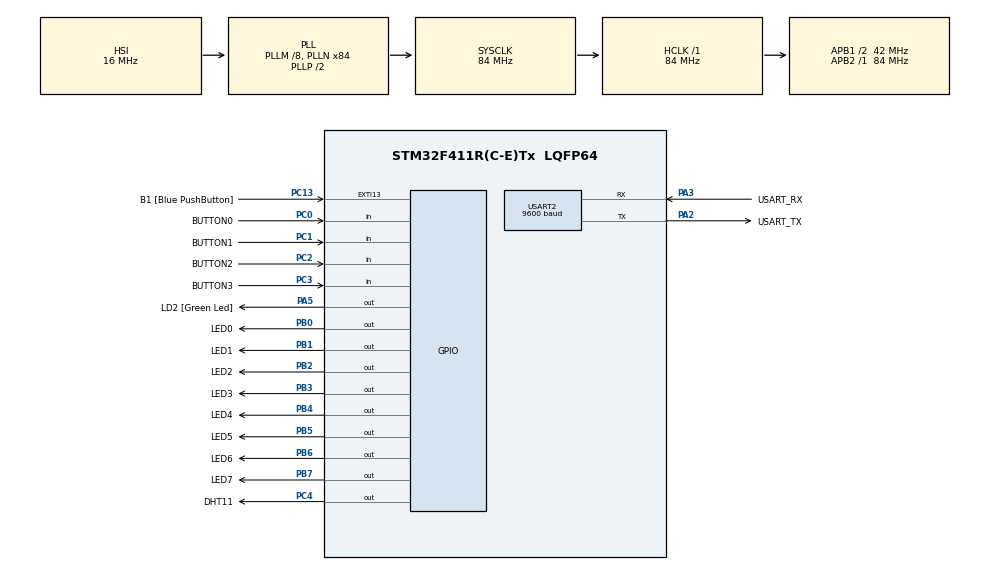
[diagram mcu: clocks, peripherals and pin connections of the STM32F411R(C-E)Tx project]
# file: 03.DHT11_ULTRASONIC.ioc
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Mcu.Family=STM32F4
Mcu.Name=STM32F411R(C-E)Tx
Mcu.Package=LQFP64
NVIC.PriorityGroup=NVIC_PRIORITYGROUP_0
NVIC.TIM1_UP_TIM10_IRQn=true\:0\:0\:false\:false\:true\:true\:true\:true
NVIC.USART2_IRQn=true\:0\:0\:false\:false\:true\:true\:true\:true
PA13.GPIO_Label=TMS
PA13.Mode=Serial_Wire
PA13.Signal=SYS_JTMS-SWDIO
PA14.GPIO_Label=TCK
PA14.Mode=Serial_Wire
PA14.Signal=SYS_JTCK-SWCLK
PA2.GPIO_Label=USART_TX
PA2.Mode=Asynchronous
PA2.Signal=USART2_TX
PA3.GPIO_Label=USART_RX
PA3.Mode=Asynchronous
PA3.Signal=USART2_RX
PA5.GPIO_Label=LD2 [Green Led]
PA5.Signal=GPIO_Output
PB0.GPIO_Label=LED0
PB0.Signal=GPIO_Output
PB1.GPIO_Label=LED1
PB1.Signal=GPIO_Output
PB2.GPIO_Label=LED2
PB2.Signal=GPIO_Output
PB3.GPIO_Label=LED3
PB3.Signal=GPIO_Output
PB4.GPIO_Label=LED4
PB4.Signal=GPIO_Output
PB5.GPIO_Label=LED5
PB5.Signal=GPIO_Output
PB6.GPIO_Label=LED6
PB6.Signal=GPIO_Output
PB7.GPIO_Label=LED7
PB7.Signal=GPIO_Output
PC0.GPIO_Label=BUTTON0
PC0.Signal=GPIO_Input
PC1.GPIO_Label=BUTTON1
PC1.Signal=GPIO_Input
PC13-ANTI_TAMP.GPIO_Label=B1 [Blue PushButton]
PC13-ANTI_TAMP.GPIO_ModeDefaultEXTI=GPIO_MODE_IT_FALLING
PC13-ANTI_TAMP.Signal=GPXTI13
PC14-OSC32_IN.Mode=LSE-External-Oscillator
PC14-OSC32_IN.Signal=RCC_OSC32_IN
PC15-OSC32_OUT.Mode=LSE-External-Oscillator
PC15-OSC32_OUT.Signal=RCC_OSC32_OUT
PC2.GPIO_Label=BUTTON2
PC2.Signal=GPIO_Input
PC3.GPIO_Label=BUTTON3
PC3.Signal=GPIO_Input
PC4.GPIO_Label=DHT11
PC4.Signal=GPIO_Output
PH0\ -\ OSC_IN.Mode=HSE-External-Clock-Source
PH0\ -\ OSC_IN.Signal=RCC_OSC_IN
PH1\ -\ OSC_OUT.Mode=HSE-External-Clock-Source
PH1\ -\ OSC_OUT.Signal=RCC_OSC_OUT
ProjectManager.HeapSize=0x200
ProjectManager.StackSize=0x400
ProjectManager.TargetToolchain=STM32CubeIDE
RCC.48MHZClocksFreq_Value=42000000
RCC.AHBFreq_Value=84000000
RCC.APB1CLKDivider=RCC_HCLK_DIV2
RCC.APB1Freq_Value=42000000
RCC.APB1TimFreq_Value=84000000
RCC.APB2Freq_Value=84000000
RCC.APB2TimFreq_Value=84000000
RCC.CortexFreq_Value=84000000
RCC.FLatency-AdvancedSettings=FLASH_LATENCY_2
RCC.HCLKFreq_Value=84000000
RCC.HSE_VALUE=8000000
RCC.HSI_VALUE=16000000
RCC.PLLM=8
RCC.PLLN=84
RCC.SYSCLKFreq_VALUE=84000000
RCC.SYSCLKSource=RCC_SYSCLKSOURCE_PLLCLK
RCC.VCOOutputFreq_Value=168000000
TIM10.Period=1000-1
TIM10.Prescaler=84-1
TIM2.Prescaler=84-1
USART2.BaudRate=9600
USART2.VirtualMode=VM_ASYNC
VP_TIM10_VS_ClockSourceINT.Mode=Enable_Timer
VP_TIM2_VS_ClockSourceINT.Mode=Internal
board=NUCLEO-F411RE

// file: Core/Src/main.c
/* USER CODE BEGIN Header */
/**
  ******************************************************************************
  * @file           : main.c
  * @brief          : Main program body
  ******************************************************************************
  * @attention
  *
  * Copyright (c) 2026 STMicroelectronics.
  * All rights reserved.
  *
  * This software is licensed under terms that can be found in the LICENSE file
  * in the root directory of this software component.
  * If no LICENSE file comes with this software, it is provided AS-IS.
  *
  ******************************************************************************
  */
/* USER CODE END Header */
#include "main.h"

TIM_HandleTypeDef htim2;
TIM_HandleTypeDef htim10;

UART_HandleTypeDef huart2;

/* USER CODE BEGIN PV */
volatile int TIM10_1ms_counter=0;  // ADD SIKWON
volatile int TIM10_1ms_ledcnt=0;  // ADD SIKWON
uint8_t rx_data; // uart tx data
/* USER CODE END PV */

void SystemClock_Config(void);
static void MX_GPIO_Init(void);
static void MX_USART2_UART_Init(void);
static void MX_TIM10_Init(void);
static void MX_TIM2_Init(void);
/* USER CODE BEGIN PFP */
extern void led_main(void);
extern void delay_us(unsigned int us);
extern void dht11_main(void);
/* USER CODE END PFP */

/* USER CODE BEGIN 0 */
// move from STM32Fxx_HAL_Driver/Src/stm32f4xx_hal_tim.c to here
// enter here when every 1 ms timer INT occurs
void HAL_TIM_PeriodElapsedCallback(TIM_HandleTypeDef *htim)
{
	if ( htim->Instance == TIM10)   // (*htim).Instance == TIM10
	{
		TIM10_1ms_counter++;
		TIM10_1ms_ledcnt++;
	}
}

#ifdef __GNUC__    // Add for printf
/* With GCC, small printf (option LD Linker->Libraries->Small printf
   set to 'Yes') calls __io_putchar() */
#define PUTCHAR_PROTOTYPE int __io_putchar(int ch)
#else
#define PUTCHAR_PROTOTYPE int fputc(int ch, FILE *f)
#endif /* __GNUC__ */
/**
  * @brief  Retargets the C library printf function to the USART.
  * @param  None
  * @retval None
  */
PUTCHAR_PROTOTYPE   // Add for printf
{
  /* Place your implementation of fputc here */
  /* e.g. write a character to the USART3 and Loop until the end of transmission */
  HAL_UART_Transmit(&huart2, (uint8_t *)&ch, 1, 0xFFFF);

  return ch;
}
/* USER CODE END 0 */

int main(void)
{

  /* MCU Configuration--------------------------------------------------------*/

  /* Reset of all peripherals, Initializes the Flash interface and the Systick. */
  HAL_Init();

  /* Configure the system clock */
  SystemClock_Config();

  /* Initialize all configured peripherals */
  MX_GPIO_Init();
  MX_USART2_UART_Init();
  MX_TIM10_Init();
  MX_TIM2_Init();
  /* USER CODE BEGIN 2 */
  HAL_TIM_Base_Start_IT(&htim10);
  HAL_TIM_Base_Start_IT(&htim2);
  HAL_UART_Receive_IT(&huart2, &rx_data, 1);
  led_main();

printf("main start !!!\n");
//dht11_main();
  /* USER CODE END 2 */

  /* Infinite loop */
  /* USER CODE BEGIN WHILE */
  while (1)
  {
	  HAL_GPIO_WritePin(GPIOB, GPIO_PIN_0 | GPIO_PIN_1 | GPIO_PIN_2 | GPIO_PIN_3 |
			  	  	  	  	   GPIO_PIN_4 | GPIO_PIN_5 | GPIO_PIN_6 | GPIO_PIN_7, 1);
	  // HAL_Delay(100);
	  delay_us(50000);   // 50ms
	  HAL_GPIO_WritePin(GPIOB, GPIO_PIN_0 | GPIO_PIN_1 | GPIO_PIN_2 | GPIO_PIN_3 |
			  	  	  	  	   GPIO_PIN_4 | GPIO_PIN_5 | GPIO_PIN_6 | GPIO_PIN_7, 0);
	  // HAL_Delay(100);
	  delay_us(50000);   // 50ms
    /* USER CODE END WHILE */

  }
}

void SystemClock_Config(void)
{
  RCC_OscInitTypeDef RCC_OscInitStruct = {0};
  RCC_ClkInitTypeDef RCC_ClkInitStruct = {0};

  /** Configure the main internal regulator output voltage
  */
  __HAL_RCC_PWR_CLK_ENABLE();
  __HAL_PWR_VOLTAGESCALING_CONFIG(PWR_REGULATOR_VOLTAGE_SCALE1);

  /** Initializes the RCC Oscillators according to the specified parameters
  * in the RCC_OscInitTypeDef structure.
  */
  RCC_OscInitStruct.OscillatorType = RCC_OSCILLATORTYPE_HSI;
  RCC_OscInitStruct.HSIState = RCC_HSI_ON;
  RCC_OscInitStruct.HSICalibrationValue = RCC_HSICALIBRATION_DEFAULT;
  RCC_OscInitStruct.PLL.PLLState = RCC_PLL_ON;
  RCC_OscInitStruct.PLL.PLLSource = RCC_PLLSOURCE_HSI;
  RCC_OscInitStruct.PLL.PLLM = 8;
  RCC_OscInitStruct.PLL.PLLN = 84;
  RCC_OscInitStruct.PLL.PLLP = RCC_PLLP_DIV2;
  RCC_OscInitStruct.PLL.PLLQ = 4;
  if (HAL_RCC_OscConfig(&RCC_OscInitStruct) != HAL_OK)
  {
    Error_Handler();
  }

  /** Initializes the CPU, AHB and APB buses clocks
  */
  RCC_ClkInitStruct.ClockType = RCC_CLOCKTYPE_HCLK|RCC_CLOCKTYPE_SYSCLK
                              |RCC_CLOCKTYPE_PCLK1|RCC_CLOCKTYPE_PCLK2;
  RCC_ClkInitStruct.SYSCLKSource = RCC_SYSCLKSOURCE_PLLCLK;
  RCC_ClkInitStruct.AHBCLKDivider = RCC_SYSCLK_DIV1;
  RCC_ClkInitStruct.APB1CLKDivider = RCC_HCLK_DIV2;
  RCC_ClkInitStruct.APB2CLKDivider = RCC_HCLK_DIV1;

  if (HAL_RCC_ClockConfig(&RCC_ClkInitStruct, FLASH_LATENCY_2) != HAL_OK)
  {
    Error_Handler();
  }
}

static void MX_TIM2_Init(void)
{

  TIM_ClockConfigTypeDef sClockSourceConfig = {0};
  TIM_MasterConfigTypeDef sMasterConfig = {0};

  htim2.Instance = TIM2;
  htim2.Init.Prescaler = 84-1;
  htim2.Init.CounterMode = TIM_COUNTERMODE_UP;
  htim2.Init.Period = 4294967295;
  htim2.Init.ClockDivision = TIM_CLOCKDIVISION_DIV1;
  htim2.Init.AutoReloadPreload = TIM_AUTORELOAD_PRELOAD_DISABLE;
  if (HAL_TIM_Base_Init(&htim2) != HAL_OK)
  {
    Error_Handler();
  }
  sClockSourceConfig.ClockSource = TIM_CLOCKSOURCE_INTERNAL;
  if (HAL_TIM_ConfigClockSource(&htim2, &sClockSourceConfig) != HAL_OK)
  {
    Error_Handler();
  }
  sMasterConfig.MasterOutputTrigger = TIM_TRGO_RESET;
  sMasterConfig.MasterSlaveMode = TIM_MASTERSLAVEMODE_DISABLE;
  if (HAL_TIMEx_MasterConfigSynchronization(&htim2, &sMasterConfig) != HAL_OK)
  {
    Error_Handler();
  }

}

static void MX_TIM10_Init(void)
{

  htim10.Instance = TIM10;
  htim10.Init.Prescaler = 84-1;
  htim10.Init.CounterMode = TIM_COUNTERMODE_UP;
  htim10.Init.Period = 1000-1;
  htim10.Init.ClockDivision = TIM_CLOCKDIVISION_DIV1;
  htim10.Init.AutoReloadPreload = TIM_AUTORELOAD_PRELOAD_DISABLE;
  if (HAL_TIM_Base_Init(&htim10) != HAL_OK)
  {
    Error_Handler();
  }

}

static void MX_USART2_UART_Init(void)
{

  huart2.Instance = USART2;
  huart2.Init.BaudRate = 9600;
  huart2.Init.WordLength = UART_WORDLENGTH_8B;
  huart2.Init.StopBits = UART_STOPBITS_1;
  huart2.Init.Parity = UART_PARITY_NONE;
  huart2.Init.Mode = UART_MODE_TX_RX;
  huart2.Init.HwFlowCtl = UART_HWCONTROL_NONE;
  huart2.Init.OverSampling = UART_OVERSAMPLING_16;
  if (HAL_UART_Init(&huart2) != HAL_OK)
  {
    Error_Handler();
  }

}

static void MX_GPIO_Init(void)
{
  GPIO_InitTypeDef GPIO_InitStruct = {0};

  /* GPIO Ports Clock Enable */
  __HAL_RCC_GPIOC_CLK_ENABLE();
  __HAL_RCC_GPIOH_CLK_ENABLE();
  __HAL_RCC_GPIOA_CLK_ENABLE();
  __HAL_RCC_GPIOB_CLK_ENABLE();

  /*Configure GPIO pin Output Level */
  HAL_GPIO_WritePin(LD2_GPIO_Port, LD2_Pin, GPIO_PIN_RESET);

  /*Configure GPIO pin Output Level */
  HAL_GPIO_WritePin(DHT11_GPIO_Port, DHT11_Pin, GPIO_PIN_RESET);

  /*Configure GPIO pin Output Level */
  HAL_GPIO_WritePin(GPIOB, LED0_Pin|LED1_Pin|LED2_Pin|LED3_Pin
                          |LED4_Pin|LED5_Pin|LED6_Pin|LED7_Pin, GPIO_PIN_RESET);

  /*Configure GPIO pin : B1_Pin */
  GPIO_InitStruct.Pin = B1_Pin;
  GPIO_InitStruct.Mode = GPIO_MODE_IT_FALLING;
  GPIO_InitStruct.Pull = GPIO_NOPULL;
  HAL_GPIO_Init(B1_GPIO_Port, &GPIO_InitStruct);

  /*Configure GPIO pins : BUTTON0_Pin BUTTON1_Pin BUTTON2_Pin BUTTON3_Pin */
  GPIO_InitStruct.Pin = BUTTON0_Pin|BUTTON1_Pin|BUTTON2_Pin|BUTTON3_Pin;
  GPIO_InitStruct.Mode = GPIO_MODE_INPUT;
  GPIO_InitStruct.Pull = GPIO_NOPULL;
  HAL_GPIO_Init(GPIOC, &GPIO_InitStruct);

  /*Configure GPIO pin : LD2_Pin */
  GPIO_InitStruct.Pin = LD2_Pin;
  GPIO_InitStruct.Mode = GPIO_MODE_OUTPUT_PP;
  GPIO_InitStruct.Pull = GPIO_NOPULL;
  GPIO_InitStruct.Speed = GPIO_SPEED_FREQ_LOW;
  HAL_GPIO_Init(LD2_GPIO_Port, &GPIO_InitStruct);

  /*Configure GPIO pin : DHT11_Pin */
  GPIO_InitStruct.Pin = DHT11_Pin;
  GPIO_InitStruct.Mode = GPIO_MODE_OUTPUT_PP;
  GPIO_InitStruct.Pull = GPIO_NOPULL;
  GPIO_InitStruct.Speed = GPIO_SPEED_FREQ_LOW;
  HAL_GPIO_Init(DHT11_GPIO_Port, &GPIO_InitStruct);

  /*Configure GPIO pins : LED0_Pin LED1_Pin LED2_Pin LED3_Pin
                           LED4_Pin LED5_Pin LED6_Pin LED7_Pin */
  GPIO_InitStruct.Pin = LED0_Pin|LED1_Pin|LED2_Pin|LED3_Pin
                          |LED4_Pin|LED5_Pin|LED6_Pin|LED7_Pin;
  GPIO_InitStruct.Mode = GPIO_MODE_OUTPUT_PP;
  GPIO_InitStruct.Pull = GPIO_NOPULL;
  GPIO_InitStruct.Speed = GPIO_SPEED_FREQ_LOW;
  HAL_GPIO_Init(GPIOB, &GPIO_InitStruct);

}

void Error_Handler(void)
{
  __disable_irq();
  while (1)
  {
  }
}
